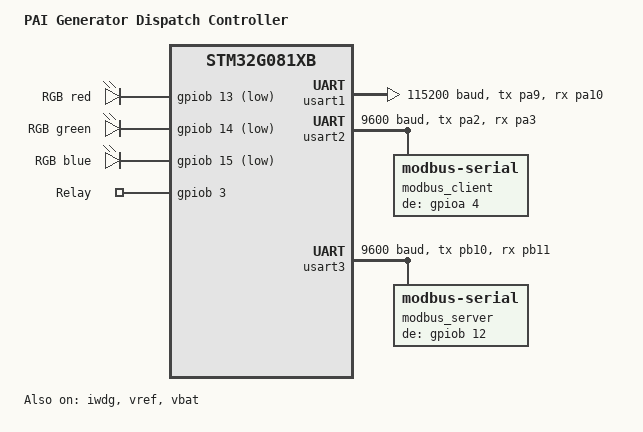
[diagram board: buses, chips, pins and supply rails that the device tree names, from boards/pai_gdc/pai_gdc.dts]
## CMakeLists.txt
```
# SPDX-License-Identifier: Apache-2.0

cmake_minimum_required(VERSION 3.20.0)

find_package(Zephyr REQUIRED HINTS $ENV{ZEPHYR_BASE})
project(P2_RS485_Controllable_Breaker)

target_include_directories(app PRIVATE include)

target_sources(app PRIVATE
	src/main.c
	src/system_registers.c
)

add_subdirectory(modbus)
add_subdirectory(devices)
```

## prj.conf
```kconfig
# Added automatically by Workbench for Zephyr
#--- DEBUG PRESET - BEGIN ---#
# Set to -Og
CONFIG_DEBUG_OPTIMIZATIONS=y
# Thread awareness support
CONFIG_DEBUG_THREAD_INFO=y
# Generate stack usage per-function
CONFIG_STACK_USAGE=y
# Other options in case not set by default
CONFIG_BUILD_OUTPUT_HEX=y
CONFIG_BUILD_OUTPUT_META=y
CONFIG_OUTPUT_SYMBOLS=y
CONFIG_OUTPUT_STAT=y
CONFIG_OUTPUT_DISASSEMBLY=y
CONFIG_OUTPUT_PRINT_MEMORY_USAGE=y

CONFIG_USB_DEVICE_STACK_NEXT=y
CONFIG_CDC_ACM_SERIAL_INITIALIZE_AT_BOOT=y
CONFIG_UART_LINE_CTRL=y

CONFIG_LOG=y
CONFIG_GPIO=y
CONFIG_SERIAL=y
CONFIG_UART_INTERRUPT_DRIVEN=y

CONFIG_CRC=y
CONFIG_MODBUS=y
CONFIG_MODBUS_BUFFER_SIZE=256
# CONFIG_MODBUS_ROLE_CLIENT=y
# CONFIG_MODBUS_ROLE_SERVER=y
CONFIG_MODBUS_ROLE_CLIENT_SERVER=y
CONFIG_MODBUS_NONCOMPLIANT_SERIAL_MODE=y
CONFIG_MAIN_STACK_SIZE=4096
CONFIG_CBPRINTF_FP_SUPPORT=y
CONFIG_PICOLIBC_IO_FLOAT=y
#--- DEBUG PRESET - END ---#
```

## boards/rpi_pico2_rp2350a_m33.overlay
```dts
/*
 * Raspberry Pi Pico 2 can reuse the same app wiring as the Pico board.
 */

#include "rpi_pico_common.overlay"
```

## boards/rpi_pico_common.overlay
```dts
/ {
     chosen {
             zephyr,console = &uart0;
	     zephyr,shell-uart = &uart0;
     };

     aliases {
             relay = &relay_0;
	     led = &relay_1;
	     modbus-server = &modbus_server;
	     modbus-client = &modbus_client;
     };

     relays {
	compatible = "gpio-leds";

	relay_0: relay_0 {
		label = "Relay 0";
		gpios = <&gpio0 4 GPIO_ACTIVE_LOW>;
	};

	relay_1: relay_1 {
		label = "Onboard LED";
		gpios = <&gpio0 25 GPIO_ACTIVE_HIGH>;
	};
     };
};

&pinctrl {
	uart0_default: uart0_default {
		group1 {
			pinmux = <UART0_TX_P16>;
		};

		group2 {
			pinmux = <UART0_RX_P17>;
			input-enable;
		};
	};

	uart1_default: uart1_default {
		group1 {
			pinmux = <UART1_TX_P8>;
		};

		group2 {
			pinmux = <UART1_RX_P9>;
			input-enable;
		};
	};
};

&uart0 {
	pinctrl-0 = <&uart0_default>;
	pinctrl-names = "default";
	status = "okay";
	current-speed = <115200>;

	// modbus_client: modbus-client {
	// 	status = "okay";
	// 	compatible = "zephyr,modbus-serial";
	// 	de-gpios = <&gpio0 0 GPIO_ACTIVE_HIGH>;
	// };
	modbus_server: modbus-server {
		status = "disabled";
		compatible = "zephyr,modbus-serial";
		de-gpios = <&gpio0 7 GPIO_ACTIVE_HIGH>;
	};
};

&uart1 {
	pinctrl-0 = <&uart1_default>;
	pinctrl-names = "default";
	status = "okay";
	current-speed = <9600>;

	modbus_client: modbus-client {
		status = "okay";
		compatible = "zephyr,modbus-serial";
		de-gpios = <&gpio0 0 GPIO_ACTIVE_HIGH>;
	};
};

&zephyr_udc0 {
	cdc_acm_uart0: cdc_acm_uart0 {
		compatible = "zephyr,cdc-acm-uart";
	};
};
```

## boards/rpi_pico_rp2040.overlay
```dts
/ {
     chosen {
             zephyr,console = &cdc_acm_uart0;
	     zephyr,shell-uart = &cdc_acm_uart0;
     };

     aliases {
             relay = &relay_0;
	     led = &relay_1;
	     modbus-server = &modbus_server;
	     modbus-client = &modbus_client;
     };

     relays {
	compatible = "gpio-leds";

	relay_0: relay_0 {
		label = "Relay 0";
		gpios = <&gpio0 4 GPIO_ACTIVE_LOW>;
	};

	relay_1: relay_1 {
		label = "Onboard LED";
		gpios = <&gpio0 25 GPIO_ACTIVE_HIGH>;
	};
     };
};

&pinctrl {
	uart0_default: uart0_default {
		group1 {
			pinmux = <UART0_TX_P16>;
		};

		group2 {
			pinmux = <UART0_RX_P17>;
			input-enable;
		};
	};

	uart1_default: uart1_default {
		group1 {
			pinmux = <UART1_TX_P8>;
		};

		group2 {
			pinmux = <UART1_RX_P9>;
			input-enable;
		};
	};
};

&uart0 {
	pinctrl-0 = <&uart0_default>;
	pinctrl-names = "default";
	status = "okay";
	current-speed = <9600>;

	modbus_client: modbus-client {
		status = "okay";
		compatible = "zephyr,modbus-serial";
		de-gpios = <&gpio0 18 GPIO_ACTIVE_HIGH>;
	};
};

&uart1 {
	pinctrl-0 = <&uart1_default>;
	pinctrl-names = "default";
	status = "okay";
	current-speed = <9600>;

	modbus_server: modbus-server {
		status = "okay";
		compatible = "zephyr,modbus-serial";
		de-gpios = <&gpio0 7 GPIO_ACTIVE_HIGH>;
	};
};

&zephyr_udc0 {
	cdc_acm_uart0: cdc_acm_uart0 {
		compatible = "zephyr,cdc-acm-uart";
	};
};
```

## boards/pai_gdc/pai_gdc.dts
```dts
/*
 * Copyright 2021 The Chromium OS Authors
 *
 * SPDX-License-Identifier: Apache-2.0
 */

/dts-v1/;
#include <st/g0/stm32g081Xb.dtsi>
#include <st/g0/stm32g081cbtx-pinctrl.dtsi>
#include <zephyr/dt-bindings/gpio/gpio.h>

/ {
	model = "PAI Generator Dispatch Controller";
	compatible = "pai,gdc";

	chosen {
		zephyr,console = &usart1;
		zephyr,shell-uart = &usart1;
		zephyr,sram = &sram0;
		zephyr,flash = &flash0;
	};

	leds {
		compatible = "gpio-leds";

		led_red: led-red {
			gpios = <&gpiob 13 GPIO_ACTIVE_LOW>;
			label = "RGB red";
		};

		led_green: led-green {
			gpios = <&gpiob 14 GPIO_ACTIVE_LOW>;
			label = "RGB green";
		};

		led_blue: led-blue {
			gpios = <&gpiob 15 GPIO_ACTIVE_LOW>;
			label = "RGB blue";
		};
	};

	relays {
		compatible = "gpio-leds";

		relay_0: relay-0 {
			gpios = <&gpiob 3 GPIO_ACTIVE_HIGH>;
			label = "Relay";
		};
	};

	aliases {
		relay = &relay_0;
		led = &led_green;
		led0 = &led_red;
		led1 = &led_green;
		led2 = &led_blue;
		watchdog0 = &iwdg;
		volt-sensor0 = &vref;
		volt-sensor1 = &vbat;
		modbus-server = &modbus_server;
		modbus-client = &modbus_client;
	};
};

&clk_hsi {
	status = "okay";
};

&pll {
	div-m = <1>;
	mul-n = <8>;
	div-p = <2>;
	div-q = <2>;
	div-r = <2>;
	clocks = <&clk_hsi>;
	status = "okay";
};

&rcc {
	clocks = <&pll>;
	clock-frequency = <DT_FREQ_M(64)>;
	ahb-prescaler = <1>;
	apb1-prescaler = <1>;
};

&usart1 {
	pinctrl-0 = <&usart1_tx_pa9 &usart1_rx_pa10>;
	pinctrl-names = "default";
	current-speed = <115200>;
	status = "okay";
};

&usart2 {
	pinctrl-0 = <&usart2_tx_pa2 &usart2_rx_pa3>;
	pinctrl-names = "default";
	current-speed = <9600>;
	status = "okay";

	modbus_client: modbus-client {
		status = "okay";
		compatible = "zephyr,modbus-serial";
		de-gpios = <&gpioa 4 GPIO_ACTIVE_HIGH>;
	};
};

&usart3 {
	pinctrl-0 = <&usart3_tx_pb10 &usart3_rx_pb11>;
	pinctrl-names = "default";
	current-speed = <9600>;
	status = "okay";

	modbus_server: modbus-server {
		status = "okay";
		compatible = "zephyr,modbus-serial";
		de-gpios = <&gpiob 12 GPIO_ACTIVE_HIGH>;
	};
};

&iwdg {
	status = "okay";
};

&vref {
	status = "okay";
};

&vbat {
	status = "okay";
};
```

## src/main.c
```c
#include <zephyr/kernel.h>
#include <zephyr/logging/log.h>

#include "modbus_client.h"
#include "modbus_server.h"
#include "pd195z_e31.h"
#include "relay_controller.h"
#include "system_registers.h"
#include "sht20.h"

LOG_MODULE_REGISTER(app, LOG_LEVEL_INF);

#define SHT20_UNIT_ID 33U
#define PD195Z_E31_UNIT_ID 1U
#define TEMPERATURE_THRESHOLD_X10 300U

int main(void)
{
	int ret;
	struct sht20_param sht20_data;
	struct pd195z_e31_param pd195z_data;

	ret = relay_controller_init();
	if (ret < 0) {
		LOG_ERR("Relay init failed: %d", ret);
		return 0;
	}

	ret = modbus_server_register_handler(relay_controller_get_register_handler());
	if (ret < 0) {
		LOG_ERR("Failed to register relay handler: %d", ret);
		return 0;                                                                                               
	}

	ret = modbus_server_register_handler(system_registers_get_handler());
	if (ret < 0) {
		LOG_ERR("Failed to register system handler: %d", ret);
		return 0;
	}

	ret = modbus_client_init();
	if (ret < 0) {
		LOG_ERR("Failed to initialize Modbus client: %d", ret);
		return 0;
	}

	// ret = modbus_server_init();
	// if (ret < 0) {
	// 	LOG_ERR("Failed to initialize Modbus server: %d", ret);
	// 	return 0;
	// }

	LOG_INF("System ready");

	char json[1024];

	while (1) {
		// ret = sht20_read_data(SHT20_UNIT_ID, &sht20_data);
		// if (ret < 0) {
		// 	LOG_ERR("Failed to get SHT20 data: %d", ret);
		// } else {
		// 	system_registers_set_threshold_alarm(
		// 		sht20_data.temperature <= TEMPERATURE_THRESHOLD_X10);
		// 	ret = sht20_format_json(&sht20_data, SHT20_UNIT_ID, json, sizeof(json));
		// 	if (ret < 0) {
		// 		LOG_ERR("Failed to format SHT20 data: %d", ret);
		// 	} else {
		// 	LOG_INF("SHT20 Data: %s", json);
		// 	}
		// }

		ret = pd195z_e31_read_data(PD195Z_E31_UNIT_ID, &pd195z_data);
		if (ret < 0) {
			LOG_ERR("Failed to get PD195Z_E31 data: %d", ret);
		} else {
			ret = pd195z_e31_format_json(&pd195z_data,
						     PD195Z_E31_UNIT_ID,
						     json,
						     sizeof(json));
			if (ret < 0) {
				LOG_ERR("Failed to format PD195Z_E31 data: %d", ret);
			} else {
				LOG_INF("PD195Z_E31 Data: %s", json);
			}
		}

		k_sleep(K_SECONDS(1));
		// int ret = modbus_client_read_input_regs(33, 0, data, 3);
		// if (ret < 0) {
		// 	LOG_ERR("Failed to read Modbus input registers: %d", ret);
		// } else {
		// 	LOG_INF("Modbus Data: %u, %.1f, %.1f", data[0], (double)data[1] * 0.1, (double)data[2] * 0.1);
		// }
		// k_sleep(K_SECONDS(1));
	}

	return 0;
}
```

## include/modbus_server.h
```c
#ifndef MODBUS_SERVER_H_
#define MODBUS_SERVER_H_

int modbus_server_init(void);

#endif /* MODBUS_SERVER_H_ */
```

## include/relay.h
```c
#ifndef RELAY_H_
#define RELAY_H_

#include <stdbool.h>

int relay_init(void);
int relay_set(bool on);
bool relay_get(void);

#endif /* RELAY_H_ */
```

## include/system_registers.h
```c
#ifndef SYSTEM_REGISTERS_H_
#define SYSTEM_REGISTERS_H_

#include <stdbool.h>

#include "modbus_register_handler.h"

const struct modbus_register_handler *system_registers_get_handler(void);
void system_registers_set_threshold_alarm(bool alarm_active);

#endif /* SYSTEM_REGISTERS_H_ */
```

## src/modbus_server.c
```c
#include <errno.h>

#include <zephyr/drivers/uart.h>
#include <zephyr/logging/log.h>
#include <zephyr/modbus/modbus.h>

#include "modbus_server.h"
#include "relay.h"

LOG_MODULE_REGISTER(modbus_server, LOG_LEVEL_INF);

#define MODBUS_NODE DT_ALIAS(modbus)
#define HOLDING_REG_COUNT 2

static uint16_t holding_reg[HOLDING_REG_COUNT] = {
	[0] = 0,
	[1] = 1,
};

static int holding_reg_rd(uint16_t addr, uint16_t *reg)
{
	if (addr >= HOLDING_REG_COUNT) {
		return -ENOTSUP;
	}

	if (addr == 0U) {
		holding_reg[0] = relay_get() ? 1U : 0U;
	}

	*reg = holding_reg[addr];
	return 0;
}

static int holding_reg_wr(uint16_t addr, uint16_t reg)
{
	int ret;

	switch (addr) {
	case 0:
		if (reg > 1U) {
			return -EINVAL;
		}

		ret = relay_set(reg == 1U);
		if (ret < 0) {
			return ret;
		}

		holding_reg[0] = reg;
		LOG_INF("Relay set via holding register 0: %u", reg);
		return 0;
	case 1:
		if ((reg < 1U) || (reg > 247U)) {
			return -EINVAL;
		}

		holding_reg[1] = reg;
		LOG_INF("Requested Modbus unit ID %u", reg);
		return 0;
	default:
		return -ENOTSUP;
	}
}

static struct modbus_user_callbacks mbs_cbs = {
	.holding_reg_rd = holding_reg_rd,
	.holding_reg_wr = holding_reg_wr,
};

static const struct modbus_iface_param server_param = {
	.mode = MODBUS_MODE_RTU,
	.server = {
		.user_cb = &mbs_cbs,
		.unit_id = 1,
	},
	.serial = {
		.baud = 9600,
		.parity = UART_CFG_PARITY_NONE,
		.stop_bits = UART_CFG_STOP_BITS_1,
	},
};

int modbus_server_init(void)
{
	const char iface_name[] = DEVICE_DT_NAME(MODBUS_NODE);
	int iface;

	iface = modbus_iface_get_by_name(iface_name);
	if (iface < 0) {
		LOG_ERR("Failed to get Modbus iface for %s: %d", iface_name, iface);
		return iface;
	}

	iface = modbus_init_server(iface, server_param);
	if (iface < 0) {
		LOG_ERR("Failed to initialize Modbus server: %d", iface);
		return iface;
	}

	LOG_INF("Modbus server started on %s, unit ID %u",
		iface_name, server_param.server.unit_id);

	return 0;
}
```

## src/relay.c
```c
#include <errno.h>

#include <zephyr/drivers/gpio.h>
#include <zephyr/logging/log.h>

#include "relay.h"

LOG_MODULE_REGISTER(relay, LOG_LEVEL_INF);

#define RELAY_NODE DT_ALIAS(relay)

static const struct gpio_dt_spec relay = GPIO_DT_SPEC_GET(RELAY_NODE, gpios);
static bool relay_state;

int relay_init(void)
{
	int ret;

	if (!gpio_is_ready_dt(&relay)) {
		LOG_ERR("Relay device is not ready");
		return -ENODEV;
	}

	ret = gpio_pin_configure_dt(&relay, GPIO_OUTPUT_INACTIVE);
	if (ret < 0) {
		LOG_ERR("Failed to configure relay: %d", ret);
		return ret;
	}

	relay_state = false;
	LOG_INF("Relay initialized");

	return 0;
}

int relay_set(bool on)
{
	int ret;

	ret = gpio_pin_set_dt(&relay, on);
	if (ret < 0) {
		LOG_ERR("Failed to set relay state: %d", ret);
		return ret;
	}

	relay_state = on;
	LOG_INF("Relay set to %d", (int)on);

	return 0;
}

bool relay_get(void)
{
	return relay_state;
}
```

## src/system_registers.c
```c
#include <errno.h>

#include <zephyr/logging/log.h>

#include "system_registers.h"

LOG_MODULE_REGISTER(system_registers, LOG_LEVEL_INF);

static bool threshold_alarm_active;
static uint16_t requested_unit_id = 50U;

static int system_read_holding_reg(uint16_t offset, uint16_t *value)
{
	switch (offset) {
	case 0:
		*value = threshold_alarm_active ? 1U : 0U;
		return 0;
	case 1:
		*value = requested_unit_id;
		return 0;
	default:
		return -ENOTSUP;
	}
}

static int system_write_holding_reg(uint16_t offset, uint16_t value)
{
	switch (offset) {
	case 1:
		if ((value < 1U) || (value > 247U)) {
			return -EINVAL;
		}

		requested_unit_id = value;
		LOG_INF("Requested Modbus unit ID %u", value);
		return 0;
	default:
		return -ENOTSUP;
	}
}

static const struct modbus_register_handler system_register_handler = {
	.start_addr = 1U,
	.reg_count = 2U,
	.read_holding_reg = system_read_holding_reg,
	.write_holding_reg = system_write_holding_reg,
};

const struct modbus_register_handler *system_registers_get_handler(void)
{
	return &system_register_handler;
}

void system_registers_set_threshold_alarm(bool alarm_active)
{
	threshold_alarm_active = alarm_active;
}
```
